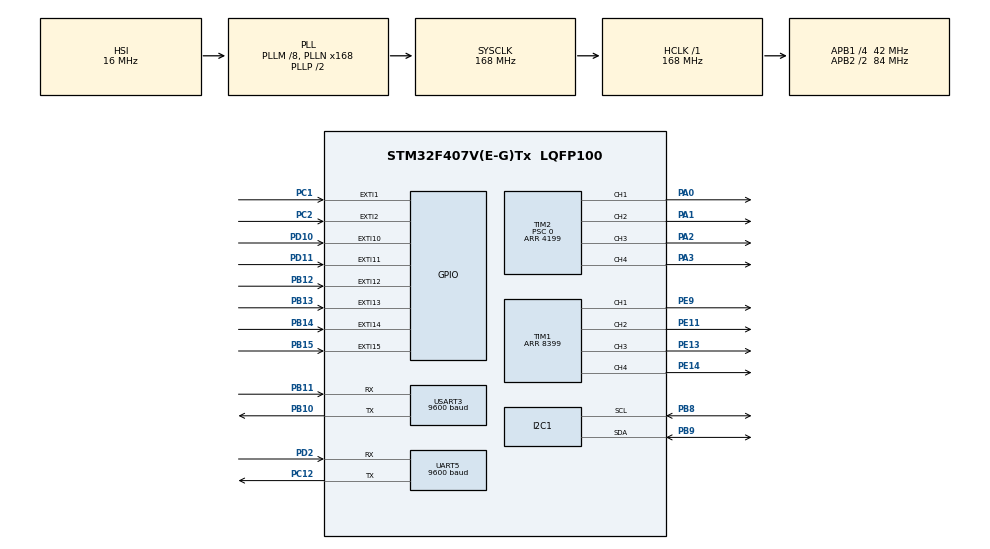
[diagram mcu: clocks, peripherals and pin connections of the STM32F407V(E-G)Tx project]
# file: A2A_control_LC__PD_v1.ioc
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Mcu.Family=STM32F4
Mcu.Name=STM32F407V(E-G)Tx
Mcu.Package=LQFP100
NVIC.EXTI15_10_IRQn=true\:0\:0\:false\:false\:true\:true\:true\:true
NVIC.EXTI1_IRQn=true\:0\:0\:false\:false\:true\:true\:true\:true
NVIC.EXTI2_IRQn=true\:0\:0\:false\:false\:true\:true\:true\:true
NVIC.PriorityGroup=NVIC_PRIORITYGROUP_4
NVIC.TIM3_IRQn=true\:0\:0\:false\:false\:true\:true\:true\:true
NVIC.UART5_IRQn=true\:0\:0\:false\:false\:true\:true\:true\:true
NVIC.USART3_IRQn=true\:0\:0\:false\:false\:true\:true\:true\:true
PA0-WKUP.Signal=S_TIM2_CH1_ETR
PA1.Signal=S_TIM2_CH2
PA2.Signal=S_TIM2_CH3
PA3.Signal=S_TIM2_CH4
PB10.Mode=Asynchronous
PB10.Signal=USART3_TX
PB11.Mode=Asynchronous
PB11.Signal=USART3_RX
PB12.Signal=GPXTI12
PB13.Signal=GPXTI13
PB14.Signal=GPXTI14
PB15.Signal=GPXTI15
PB8.Mode=I2C
PB8.Signal=I2C1_SCL
PB9.Mode=I2C
PB9.Signal=I2C1_SDA
PC1.Signal=GPXTI1
PC12.Mode=Asynchronous
PC12.Signal=UART5_TX
PC2.Signal=GPXTI2
PD10.Signal=GPXTI10
PD11.Signal=GPXTI11
PD2.Mode=Asynchronous
PD2.Signal=UART5_RX
PE11.Signal=S_TIM1_CH2
PE13.Signal=S_TIM1_CH3
PE14.Signal=S_TIM1_CH4
PE9.Signal=S_TIM1_CH1
ProjectManager.HeapSize=0x200
ProjectManager.StackSize=0x400
ProjectManager.TargetToolchain=STM32CubeIDE
RCC.48MHZClocksFreq_Value=84000000
RCC.AHBFreq_Value=168000000
RCC.APB1CLKDivider=RCC_HCLK_DIV4
RCC.APB1Freq_Value=42000000
RCC.APB1TimFreq_Value=84000000
RCC.APB2CLKDivider=RCC_HCLK_DIV2
RCC.APB2Freq_Value=84000000
RCC.APB2TimFreq_Value=168000000
RCC.CortexFreq_Value=168000000
RCC.HCLKFreq_Value=168000000
RCC.HSE_VALUE=25000000
RCC.HSI_VALUE=16000000
RCC.LSE_VALUE=32768
RCC.PLLM=8
RCC.PLLN=168
RCC.SYSCLKFreq_VALUE=168000000
RCC.SYSCLKSource=RCC_SYSCLKSOURCE_PLLCLK
RCC.VCOOutputFreq_Value=336000000
SH.S_TIM1_CH1.0=TIM1_CH1,PWM Generation1 CH1
SH.S_TIM1_CH2.0=TIM1_CH2,PWM Generation2 CH2
SH.S_TIM1_CH3.0=TIM1_CH3,PWM Generation3 CH3
SH.S_TIM1_CH4.0=TIM1_CH4,PWM Generation4 CH4
SH.S_TIM2_CH1_ETR.0=TIM2_CH1,PWM Generation1 CH1
SH.S_TIM2_CH2.0=TIM2_CH2,PWM Generation2 CH2
SH.S_TIM2_CH3.0=TIM2_CH3,PWM Generation3 CH3
SH.S_TIM2_CH4.0=TIM2_CH4,PWM Generation4 CH4
TIM1.AutoReloadPreload=TIM_AUTORELOAD_PRELOAD_ENABLE
TIM1.Channel-PWM\ Generation1\ CH1=TIM_CHANNEL_1
TIM1.Channel-PWM\ Generation2\ CH2=TIM_CHANNEL_2
TIM1.Channel-PWM\ Generation3\ CH3=TIM_CHANNEL_3
TIM1.Channel-PWM\ Generation4\ CH4=TIM_CHANNEL_4
TIM1.Period=8399
TIM2.AutoReloadPreload=TIM_AUTORELOAD_PRELOAD_ENABLE
TIM2.Channel-PWM\ Generation1\ CH1=TIM_CHANNEL_1
TIM2.Channel-PWM\ Generation2\ CH2=TIM_CHANNEL_2
TIM2.Channel-PWM\ Generation3\ CH3=TIM_CHANNEL_3
TIM2.Channel-PWM\ Generation4\ CH4=TIM_CHANNEL_4
TIM2.Period=4199
TIM2.Prescaler=0
TIM3.Period=999
TIM3.Prescaler=839
UART5.BaudRate=9600
UART5.VirtualMode=Asynchronous
USART3.BaudRate=9600
USART3.VirtualMode=VM_ASYNC
VP_TIM1_VS_ClockSourceINT.Mode=Internal
VP_TIM2_VS_ClockSourceINT.Mode=Internal
VP_TIM3_VS_ClockSourceINT.Mode=Internal
board=custom

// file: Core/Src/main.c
/* USER CODE BEGIN Header */
/**
  ******************************************************************************
  * @file           : main.c
  * @brief          : Main program body
  ******************************************************************************
  * @attention
  *
  * Copyright (c) 2025 STMicroelectronics.
  * All rights reserved.
  *
  * This software is licensed under terms that can be found in the LICENSE file
  * in the root directory of this software component.
  * If no LICENSE file comes with this software, it is provided AS-IS.
  *
  ******************************************************************************
  */
/* USER CODE END Header */
#include "main.h"

/* USER CODE BEGIN Includes */
#include <stdio.h>
#include <string.h>

// Variables globales para cada motor
typedef struct {
    float kp;        // Ganancia proporcional
    float kd;        // Ganancia derivativa
    float prev_error; // Error anterior (para la derivada)
} PDcontroller;

void controlarMotor(TIM_HandleTypeDef *htim, uint32_t ch1, uint32_t ch2,
                    PDcontroller *pd, float setpoint_rpm, float feedback_rpm,
                    int direccion);

void movimiento(char str,
                float sp1, float sp2, float sp3, float sp4,
                float fb1, float fb2, float fb3, float fb4);
// ===== Límite de seguridad y helpers PWM =====
#define MAX_DUTY_PCT  100.0f   // tope de PWM en %, ajusta a tu gusto

static inline uint32_t pwm_get_arr(TIM_HandleTypeDef *htim) {
    return __HAL_TIM_GET_AUTORELOAD(htim);  // = Period (ARR) del timer
}

static inline uint32_t pwm_pct_to_ccr(TIM_HandleTypeDef *htim, float pct) {
    if (pct < 0.0f)   pct = 0.0f;
    if (pct > 100.0f) pct = 100.0f;
    float arr = (float)pwm_get_arr(htim);
    return (uint32_t)((pct * arr) / 100.0f + 0.5f);
}

/* USER CODE END Includes */

I2C_HandleTypeDef hi2c1;

TIM_HandleTypeDef htim1;
TIM_HandleTypeDef htim2;
TIM_HandleTypeDef htim3;

UART_HandleTypeDef huart5;
UART_HandleTypeDef huart3;

void SystemClock_Config(void);
static void MX_GPIO_Init(void);
static void MX_TIM1_Init(void);
static void MX_TIM2_Init(void);
static void MX_UART5_Init(void);
static void MX_USART3_UART_Init(void);
static void MX_I2C1_Init(void);
static void MX_TIM3_Init(void);

/* USER CODE BEGIN 0 */
// === ADDED ===
volatile char g_cmd = 'e';          // comando actual (empieza en STOP)
volatile uint8_t control_tick = 0;  // flag para ejecutar control cada 10 ms
uint8_t rx3, rx5;                   // buffers de RX por IT para USART3 y UART5

#define ENCODER_PPR 2000 // Pulsos por revolución del encoder
#define TIMER_INTERVAL 10 // Intervalo del cálculo de velocidad (ms)
/* Variables globales para los encoders */
char rxData='b';
char datico='b';
int *velocidad_mostrar;

volatile int32_t encoder_count_m1 = 0, encoder_count_m2 = 0, encoder_count_m3 = 0, encoder_count_m4 = 0;
volatile int8_t motor_direction_m1 = 0, motor_direction_m2 = 0, motor_direction_m3 = 0, motor_direction_m4 = 0;
volatile int32_t pulses_in_interval_m1 = 0, pulses_in_interval_m2 = 0, pulses_in_interval_m3 = 0, pulses_in_interval_m4 = 0;
volatile int32_t motor_speed_rpm_m1 = 0, motor_speed_rpm_m2 = 0, motor_speed_rpm_m3 = 0, motor_speed_rpm_m4 = 0;

float a_m1 = 22.697, a_m2 = 23.993, a_m3 = 22.697, a_m4 = 23.119;
float b_m1 = 1200.62, b_m2 = 1200.31, b_m3 = 927.31, b_m4 = 874;

float calcularPD(PDcontroller *pd, float setpoint_rpm, float feedback_rpm)
{
    const float Ts = 0.01f;   // 10 ms (TIM3)
    float error = setpoint_rpm - feedback_rpm;

    // Derivada discreta del error
    float derivative = (error - pd->prev_error) / Ts;

    // Ley PD
    float u_pct = pd->kp * error + pd->kd * derivative;

    // Guardar error
    pd->prev_error = error;

    // Límite 0–100%
    if (u_pct < 0) u_pct = 0;
    if (u_pct > 100) u_pct = 100;

    return u_pct;
}

PDcontroller controladorM1 = { .kp = 2.687837780257748f, .kd = 0.001f, .prev_error = 0 };
PDcontroller controladorM2 = { .kp = 2.687837780257748f, .kd = 0.001f, .prev_error = 0 };
PDcontroller controladorM3 = { .kp = 2.687837780257748f, .kd = 0.001f, .prev_error = 0 };
PDcontroller controladorM4 = { .kp = 2.687837780257748f, .kd = 0.001f, .prev_error = 0 };

float feedbackM1, feedbackM2, feedbackM3, feedbackM4 = 0;  // Declare the feedback variables

/* ISR para las señales del encoder */
void HAL_GPIO_EXTI_Callback(uint16_t GPIO_Pin) {
    // Motor 1
    if (GPIO_Pin == GPIO_PIN_12 || GPIO_Pin == GPIO_PIN_13) {
        if (HAL_GPIO_ReadPin(GPIOB, GPIO_PIN_12) == HAL_GPIO_ReadPin(GPIOB, GPIO_PIN_13)) {
            encoder_count_m1++;
            pulses_in_interval_m1++;
            motor_direction_m1 = 1;
        } else {
            encoder_count_m1--;
            pulses_in_interval_m1++;
            motor_direction_m1 = -1;
        }
    }
    // Motor 2
    else if (GPIO_Pin == GPIO_PIN_14 || GPIO_Pin == GPIO_PIN_15) {
        if (HAL_GPIO_ReadPin(GPIOB, GPIO_PIN_14) == HAL_GPIO_ReadPin(GPIOB, GPIO_PIN_15)) {
            encoder_count_m2++;
            pulses_in_interval_m2++;
            motor_direction_m2 = 1;
        } else {
            encoder_count_m2--;
            pulses_in_interval_m2++;
            motor_direction_m2 = -1;
        }
    }
    // Motor 3
    else if (GPIO_Pin == GPIO_PIN_10 || GPIO_Pin == GPIO_PIN_11) {
        if (HAL_GPIO_ReadPin(GPIOD, GPIO_PIN_10) == HAL_GPIO_ReadPin(GPIOD, GPIO_PIN_11)) {
            encoder_count_m3++;
            pulses_in_interval_m3++;
            motor_direction_m3 = 1;
        } else {
            encoder_count_m3--;
            pulses_in_interval_m3++;
            motor_direction_m3 = -1;
        }
    }
    // Motor 4
    else if (GPIO_Pin == GPIO_PIN_2 || GPIO_Pin == GPIO_PIN_1) {
        if (HAL_GPIO_ReadPin(GPIOC, GPIO_PIN_1) == HAL_GPIO_ReadPin(GPIOC, GPIO_PIN_2)) {
            encoder_count_m4++;
            pulses_in_interval_m4++;
            motor_direction_m4 = 1;
        } else {
            encoder_count_m4--;
            pulses_in_interval_m4++;
            motor_direction_m4 = -1;
        }
    }
}
void HAL_UART_RxCpltCallback(UART_HandleTypeDef *huart) {
    char c;
    if (huart->Instance == USART3) {
        c = (char)rx3;
        HAL_UART_Receive_IT(&huart3, &rx3, 1); // rearmar
    } else if (huart->Instance == UART5) {
        c = (char)rx5;
        HAL_UART_Receive_IT(&huart5, &rx5, 1); // rearmar
    } else {
        return;
    }

    // Si es un comando válido, actualizar g_cmd y resetear integrales (anti-windup)
    if (c=='a'||c=='b'||c=='c'||c=='d'||c=='e'||c=='f'||c=='g'||c=='h'||c=='i'||c=='j'||c=='k') {
        g_cmd = c;

        // (Opcional) eco por consola:
        // HAL_UART_Transmit(&huart3, (uint8_t*)&g_cmd, 1, 50);
    }
}

/* Temporizador para calcular velocidad */
void HAL_TIM_PeriodElapsedCallback(TIM_HandleTypeDef *htim) {
    if (htim->Instance == TIM3) {
    	static float f1=0, f2=0, f3=0, f4=0;

    	float rpm1 = (pulses_in_interval_m1 * 60 * 1000) / (ENCODER_PPR * TIMER_INTERVAL);
    	float rpm2 = (pulses_in_interval_m2 * 60 * 1000) / (ENCODER_PPR * TIMER_INTERVAL);
    	float rpm3 = (pulses_in_interval_m3 * 60 * 1000) / (ENCODER_PPR * TIMER_INTERVAL);
    	float rpm4 = (pulses_in_interval_m4 * 60 * 1000) / (ENCODER_PPR * TIMER_INTERVAL);

    	// filtro exponencial: 70% pasado – 30% nuevo
    	f1 = 0.7f * f1 + 0.3f * rpm1;
    	f2 = 0.7f * f2 + 0.3f * rpm2;
    	f3 = 0.7f * f3 + 0.3f * rpm3;
    	f4 = 0.7f * f4 + 0.3f * rpm4;

    	motor_speed_rpm_m1 = f1;
    	motor_speed_rpm_m2 = f2;
    	motor_speed_rpm_m3 = f3;
    	motor_speed_rpm_m4 = f4;

        if (pulses_in_interval_m1 == 0) motor_speed_rpm_m1 = 0, motor_direction_m1 = 0;
        if (pulses_in_interval_m2 == 0) motor_speed_rpm_m2 = 0, motor_direction_m2 = 0;
        if (pulses_in_interval_m3 == 0) motor_speed_rpm_m3 = 0, motor_direction_m3 = 0;
        if (pulses_in_interval_m4 == 0) motor_speed_rpm_m4 = 0, motor_direction_m4 = 0;

        pulses_in_interval_m1 = pulses_in_interval_m2 = pulses_in_interval_m3 = pulses_in_interval_m4 = 0;
        control_tick = 1;
    }
}
/* USER CODE END 0 */

int main(void)
{

  /* MCU Configuration--------------------------------------------------------*/

  /* Reset of all peripherals, Initializes the Flash interface and the Systick. */
  HAL_Init();

  /* Configure the system clock */
  SystemClock_Config();

  /* Initialize all configured peripherals */
  MX_GPIO_Init();
  MX_TIM1_Init();
  MX_TIM2_Init();
  MX_UART5_Init();
  MX_USART3_UART_Init();
  MX_I2C1_Init();
  MX_TIM3_Init();
  /* USER CODE BEGIN 2 */
  // Arranca RX por interrupción en ambos UARTs
  HAL_UART_Receive_IT(&huart3, &rx3, 1);
  HAL_UART_Receive_IT(&huart5, &rx5, 1);

  // Timer de 10 ms para velocidades y tick de control
  HAL_TIM_Base_Start_IT(&htim3);

  // PWM: usar HAL_TIM_PWM_Start (no *_Start_IT)
  HAL_TIM_PWM_Start(&htim1, TIM_CHANNEL_1);
  HAL_TIM_PWM_Start(&htim1, TIM_CHANNEL_2);
  HAL_TIM_PWM_Start(&htim1, TIM_CHANNEL_3);
  HAL_TIM_PWM_Start(&htim1, TIM_CHANNEL_4);

  HAL_TIM_PWM_Start(&htim2, TIM_CHANNEL_1);
  HAL_TIM_PWM_Start(&htim2, TIM_CHANNEL_2);
  HAL_TIM_PWM_Start(&htim2, TIM_CHANNEL_3);
  HAL_TIM_PWM_Start(&htim2, TIM_CHANNEL_4);

  // Inicializa duty en 0
  __HAL_TIM_SetCompare(&htim1, TIM_CHANNEL_1, 0);
  __HAL_TIM_SetCompare(&htim1, TIM_CHANNEL_2, 0);
  __HAL_TIM_SetCompare(&htim1, TIM_CHANNEL_3, 0);
  __HAL_TIM_SetCompare(&htim1, TIM_CHANNEL_4, 0);
  __HAL_TIM_SetCompare(&htim2, TIM_CHANNEL_1, 0);
  __HAL_TIM_SetCompare(&htim2, TIM_CHANNEL_2, 0);
  __HAL_TIM_SetCompare(&htim2, TIM_CHANNEL_3, 0);
  __HAL_TIM_SetCompare(&htim2, TIM_CHANNEL_4, 0);
  /* USER CODE END 2 */

  /* Infinite loop */
  /* USER CODE BEGIN WHILE */
  while (1)
  {
	    if (control_tick) {
	        control_tick = 0;

	        float sp_rpm = 30.0f;
	        movimiento(g_cmd,
	                   sp_rpm, sp_rpm, sp_rpm, sp_rpm,
	                   motor_speed_rpm_m1, motor_speed_rpm_m2,
	                   motor_speed_rpm_m3, motor_speed_rpm_m4);

	    }
    /* USER CODE END WHILE */

  }
}

void SystemClock_Config(void)
{
  RCC_OscInitTypeDef RCC_OscInitStruct = {0};
  RCC_ClkInitTypeDef RCC_ClkInitStruct = {0};

  /** Configure the main internal regulator output voltage
  */
  __HAL_RCC_PWR_CLK_ENABLE();
  __HAL_PWR_VOLTAGESCALING_CONFIG(PWR_REGULATOR_VOLTAGE_SCALE1);

  /** Initializes the RCC Oscillators according to the specified parameters
  * in the RCC_OscInitTypeDef structure.
  */
  RCC_OscInitStruct.OscillatorType = RCC_OSCILLATORTYPE_HSI;
  RCC_OscInitStruct.HSIState = RCC_HSI_ON;
  RCC_OscInitStruct.HSICalibrationValue = RCC_HSICALIBRATION_DEFAULT;
  RCC_OscInitStruct.PLL.PLLState = RCC_PLL_ON;
  RCC_OscInitStruct.PLL.PLLSource = RCC_PLLSOURCE_HSI;
  RCC_OscInitStruct.PLL.PLLM = 8;
  RCC_OscInitStruct.PLL.PLLN = 168;
  RCC_OscInitStruct.PLL.PLLP = RCC_PLLP_DIV2;
  RCC_OscInitStruct.PLL.PLLQ = 4;
  if (HAL_RCC_OscConfig(&RCC_OscInitStruct) != HAL_OK)
  {
    Error_Handler();
  }

  /** Initializes the CPU, AHB and APB buses clocks
  */
  RCC_ClkInitStruct.ClockType = RCC_CLOCKTYPE_HCLK|RCC_CLOCKTYPE_SYSCLK
                              |RCC_CLOCKTYPE_PCLK1|RCC_CLOCKTYPE_PCLK2;
  RCC_ClkInitStruct.SYSCLKSource = RCC_SYSCLKSOURCE_PLLCLK;
  RCC_ClkInitStruct.AHBCLKDivider = RCC_SYSCLK_DIV1;
  RCC_ClkInitStruct.APB1CLKDivider = RCC_HCLK_DIV4;
  RCC_ClkInitStruct.APB2CLKDivider = RCC_HCLK_DIV2;

  if (HAL_RCC_ClockConfig(&RCC_ClkInitStruct, FLASH_LATENCY_5) != HAL_OK)
  {
    Error_Handler();
  }
}

static void MX_I2C1_Init(void)
{

  hi2c1.Instance = I2C1;
  hi2c1.Init.ClockSpeed = 100000;
  hi2c1.Init.DutyCycle = I2C_DUTYCYCLE_2;
  hi2c1.Init.OwnAddress1 = 0;
  hi2c1.Init.AddressingMode = I2C_ADDRESSINGMODE_7BIT;
  hi2c1.Init.DualAddressMode = I2C_DUALADDRESS_DISABLE;
  hi2c1.Init.OwnAddress2 = 0;
  hi2c1.Init.GeneralCallMode = I2C_GENERALCALL_DISABLE;
  hi2c1.Init.NoStretchMode = I2C_NOSTRETCH_DISABLE;
  if (HAL_I2C_Init(&hi2c1) != HAL_OK)
  {
    Error_Handler();
  }

}

static void MX_TIM1_Init(void)
{

  TIM_ClockConfigTypeDef sClockSourceConfig = {0};
  TIM_MasterConfigTypeDef sMasterConfig = {0};
  TIM_OC_InitTypeDef sConfigOC = {0};
  TIM_BreakDeadTimeConfigTypeDef sBreakDeadTimeConfig = {0};

  htim1.Instance = TIM1;
  htim1.Init.Prescaler = 0;
  htim1.Init.CounterMode = TIM_COUNTERMODE_UP;
  htim1.Init.Period = 8399;
  htim1.Init.ClockDivision = TIM_CLOCKDIVISION_DIV1;
  htim1.Init.RepetitionCounter = 0;
  htim1.Init.AutoReloadPreload = TIM_AUTORELOAD_PRELOAD_ENABLE;
  if (HAL_TIM_Base_Init(&htim1) != HAL_OK)
  {
    Error_Handler();
  }
  sClockSourceConfig.ClockSource = TIM_CLOCKSOURCE_INTERNAL;
  if (HAL_TIM_ConfigClockSource(&htim1, &sClockSourceConfig) != HAL_OK)
  {
    Error_Handler();
  }
  if (HAL_TIM_PWM_Init(&htim1) != HAL_OK)
  {
    Error_Handler();
  }
  sMasterConfig.MasterOutputTrigger = TIM_TRGO_RESET;
  sMasterConfig.MasterSlaveMode = TIM_MASTERSLAVEMODE_DISABLE;
  if (HAL_TIMEx_MasterConfigSynchronization(&htim1, &sMasterConfig) != HAL_OK)
  {
    Error_Handler();
  }
  sConfigOC.OCMode = TIM_OCMODE_PWM1;
  sConfigOC.Pulse = 0;
  sConfigOC.OCPolarity = TIM_OCPOLARITY_HIGH;
  sConfigOC.OCNPolarity = TIM_OCNPOLARITY_HIGH;
  sConfigOC.OCFastMode = TIM_OCFAST_DISABLE;
  sConfigOC.OCIdleState = TIM_OCIDLESTATE_RESET;
  sConfigOC.OCNIdleState = TIM_OCNIDLESTATE_RESET;
  if (HAL_TIM_PWM_ConfigChannel(&htim1, &sConfigOC, TIM_CHANNEL_1) != HAL_OK)
  {
    Error_Handler();
  }
  if (HAL_TIM_PWM_ConfigChannel(&htim1, &sConfigOC, TIM_CHANNEL_2) != HAL_OK)
  {
    Error_Handler();
  }
  if (HAL_TIM_PWM_ConfigChannel(&htim1, &sConfigOC, TIM_CHANNEL_3) != HAL_OK)
  {
    Error_Handler();
  }
  if (HAL_TIM_PWM_ConfigChannel(&htim1, &sConfigOC, TIM_CHANNEL_4) != HAL_OK)
  {
    Error_Handler();
  }
  sBreakDeadTimeConfig.OffStateRunMode = TIM_OSSR_DISABLE;
  sBreakDeadTimeConfig.OffStateIDLEMode = TIM_OSSI_DISABLE;
  sBreakDeadTimeConfig.LockLevel = TIM_LOCKLEVEL_OFF;
  sBreakDeadTimeConfig.DeadTime = 0;
  sBreakDeadTimeConfig.BreakState = TIM_BREAK_DISABLE;
  sBreakDeadTimeConfig.BreakPolarity = TIM_BREAKPOLARITY_HIGH;
  sBreakDeadTimeConfig.AutomaticOutput = TIM_AUTOMATICOUTPUT_DISABLE;
  if (HAL_TIMEx_ConfigBreakDeadTime(&htim1, &sBreakDeadTimeConfig) != HAL_OK)
  {
    Error_Handler();
  }
  HAL_TIM_MspPostInit(&htim1);

}

static void MX_TIM2_Init(void)
{

  TIM_ClockConfigTypeDef sClockSourceConfig = {0};
  TIM_MasterConfigTypeDef sMasterConfig = {0};
  TIM_OC_InitTypeDef sConfigOC = {0};

  htim2.Instance = TIM2;
  htim2.Init.Prescaler = 0;
  htim2.Init.CounterMode = TIM_COUNTERMODE_UP;
  htim2.Init.Period = 4199;
  htim2.Init.ClockDivision = TIM_CLOCKDIVISION_DIV1;
  htim2.Init.AutoReloadPreload = TIM_AUTORELOAD_PRELOAD_ENABLE;
  if (HAL_TIM_Base_Init(&htim2) != HAL_OK)
  {
    Error_Handler();
  }
  sClockSourceConfig.ClockSource = TIM_CLOCKSOURCE_INTERNAL;
  if (HAL_TIM_ConfigClockSource(&htim2, &sClockSourceConfig) != HAL_OK)
  {
    Error_Handler();
  }
  if (HAL_TIM_PWM_Init(&htim2) != HAL_OK)
  {
    Error_Handler();
  }
  sMasterConfig.MasterOutputTrigger = TIM_TRGO_RESET;
  sMasterConfig.MasterSlaveMode = TIM_MASTERSLAVEMODE_DISABLE;
  if (HAL_TIMEx_MasterConfigSynchronization(&htim2, &sMasterConfig) != HAL_OK)
  {
    Error_Handler();
  }
  sConfigOC.OCMode = TIM_OCMODE_PWM1;
  sConfigOC.Pulse = 0;
  sConfigOC.OCPolarity = TIM_OCPOLARITY_HIGH;
  sConfigOC.OCFastMode = TIM_OCFAST_DISABLE;
  if (HAL_TIM_PWM_ConfigChannel(&htim2, &sConfigOC, TIM_CHANNEL_1) != HAL_OK)
  {
    Error_Handler();
  }
  if (HAL_TIM_PWM_ConfigChannel(&htim2, &sConfigOC, TIM_CHANNEL_2) != HAL_OK)
  {
    Error_Handler();
  }
  if (HAL_TIM_PWM_ConfigChannel(&htim2, &sConfigOC, TIM_CHANNEL_3) != HAL_OK)
  {
    Error_Handler();
  }
  if (HAL_TIM_PWM_ConfigChannel(&htim2, &sConfigOC, TIM_CHANNEL_4) != HAL_OK)
  {
    Error_Handler();
  }
  HAL_TIM_MspPostInit(&htim2);

}

static void MX_TIM3_Init(void)
{

  TIM_ClockConfigTypeDef sClockSourceConfig = {0};
  TIM_MasterConfigTypeDef sMasterConfig = {0};

  htim3.Instance = TIM3;
  htim3.Init.Prescaler = 839;
  htim3.Init.CounterMode = TIM_COUNTERMODE_UP;
  htim3.Init.Period = 999;
  htim3.Init.ClockDivision = TIM_CLOCKDIVISION_DIV1;
  htim3.Init.AutoReloadPreload = TIM_AUTORELOAD_PRELOAD_DISABLE;
  if (HAL_TIM_Base_Init(&htim3) != HAL_OK)
  {
    Error_Handler();
  }
  sClockSourceConfig.ClockSource = TIM_CLOCKSOURCE_INTERNAL;
  if (HAL_TIM_ConfigClockSource(&htim3, &sClockSourceConfig) != HAL_OK)
  {
    Error_Handler();
  }
  sMasterConfig.MasterOutputTrigger = TIM_TRGO_RESET;
  sMasterConfig.MasterSlaveMode = TIM_MASTERSLAVEMODE_DISABLE;
  if (HAL_TIMEx_MasterConfigSynchronization(&htim3, &sMasterConfig) != HAL_OK)
  {
    Error_Handler();
  }

}

static void MX_UART5_Init(void)
{

  huart5.Instance = UART5;
  huart5.Init.BaudRate = 9600;
  huart5.Init.WordLength = UART_WORDLENGTH_8B;
  huart5.Init.StopBits = UART_STOPBITS_1;
  huart5.Init.Parity = UART_PARITY_NONE;
  huart5.Init.Mode = UART_MODE_TX_RX;
  huart5.Init.HwFlowCtl = UART_HWCONTROL_NONE;
  huart5.Init.OverSampling = UART_OVERSAMPLING_16;
  if (HAL_UART_Init(&huart5) != HAL_OK)
  {
    Error_Handler();
  }

}

static void MX_USART3_UART_Init(void)
{

  huart3.Instance = USART3;
  huart3.Init.BaudRate = 9600;
  huart3.Init.WordLength = UART_WORDLENGTH_8B;
  huart3.Init.StopBits = UART_STOPBITS_1;
  huart3.Init.Parity = UART_PARITY_NONE;
  huart3.Init.Mode = UART_MODE_TX_RX;
  huart3.Init.HwFlowCtl = UART_HWCONTROL_NONE;
  huart3.Init.OverSampling = UART_OVERSAMPLING_16;
  if (HAL_UART_Init(&huart3) != HAL_OK)
  {
    Error_Handler();
  }

}

static void MX_GPIO_Init(void)
{
  GPIO_InitTypeDef GPIO_InitStruct = {0};

  /* GPIO Ports Clock Enable */
  __HAL_RCC_GPIOC_CLK_ENABLE();
  __HAL_RCC_GPIOA_CLK_ENABLE();
  __HAL_RCC_GPIOE_CLK_ENABLE();
  __HAL_RCC_GPIOB_CLK_ENABLE();
  __HAL_RCC_GPIOD_CLK_ENABLE();

  /*Configure GPIO pins : PC1 PC2 */
  GPIO_InitStruct.Pin = GPIO_PIN_1|GPIO_PIN_2;
  GPIO_InitStruct.Mode = GPIO_MODE_IT_RISING;
  GPIO_InitStruct.Pull = GPIO_NOPULL;
  HAL_GPIO_Init(GPIOC, &GPIO_InitStruct);

  /*Configure GPIO pins : PB12 PB13 PB14 PB15 */
  GPIO_InitStruct.Pin = GPIO_PIN_12|GPIO_PIN_13|GPIO_PIN_14|GPIO_PIN_15;
  GPIO_InitStruct.Mode = GPIO_MODE_IT_RISING;
  GPIO_InitStruct.Pull = GPIO_NOPULL;
  HAL_GPIO_Init(GPIOB, &GPIO_InitStruct);

  /*Configure GPIO pins : PD10 PD11 */
  GPIO_InitStruct.Pin = GPIO_PIN_10|GPIO_PIN_11;
  GPIO_InitStruct.Mode = GPIO_MODE_IT_RISING;
  GPIO_InitStruct.Pull = GPIO_NOPULL;
  HAL_GPIO_Init(GPIOD, &GPIO_InitStruct);

  /* EXTI interrupt init*/
  HAL_NVIC_SetPriority(EXTI1_IRQn, 0, 0);
  HAL_NVIC_EnableIRQ(EXTI1_IRQn);

  HAL_NVIC_SetPriority(EXTI2_IRQn, 0, 0);
  HAL_NVIC_EnableIRQ(EXTI2_IRQn);

  HAL_NVIC_SetPriority(EXTI15_10_IRQn, 0, 0);
  HAL_NVIC_EnableIRQ(EXTI15_10_IRQn);

}

/* USER CODE BEGIN 4 */
void controlarMotor(TIM_HandleTypeDef *htim, uint32_t ch1, uint32_t ch2,
                    PDcontroller *pd, float setpoint_rpm, float feedback_rpm,
                    int direccion)
{
    // 1) Control PD
    float u_pct = calcularPD(pd, setpoint_rpm, feedback_rpm);

    // 2) Limitar a tu máximo de seguridad
    if (u_pct > MAX_DUTY_PCT) u_pct = MAX_DUTY_PCT;

    // 3) Convertir a CCR
    uint32_t ccr = pwm_pct_to_ccr(htim, u_pct);

    // 4) Aplicar dirección
    if (direccion == 1) {          // Adelante
        __HAL_TIM_SetCompare(htim, ch1, ccr);
        __HAL_TIM_SetCompare(htim, ch2, 0);
    } else if (direccion == -1) {  // Reversa
        __HAL_TIM_SetCompare(htim, ch1, 0);
        __HAL_TIM_SetCompare(htim, ch2, ccr);
    } else {                       // Stop
        __HAL_TIM_SetCompare(htim, ch1, 0);
        __HAL_TIM_SetCompare(htim, ch2, 0);
    }
}

void movimiento(char str,
                float sp1, float sp2, float sp3, float sp4,
                float fb1, float fb2, float fb3, float fb4)
{
    int dir1 = 0, dir2 = 0, dir3 = 0, dir4 = 0;

    switch (str) {
        case 'b': dir1=dir3=1; dir2=dir4=-1; break;   // Adelante
        case 'h': dir1=dir3=-1; dir2=dir4=1; break;   // Atrás
        case 'j': dir1=dir2=dir3=dir4=1; break;       // Giro horario
        case 'k': dir1=dir2=dir3=dir4=-1; break;      // Giro antihorario
        case 'c': dir1=1; dir4=-1; break;             // 45° adelante derecha
        case 'a': dir2=-1; dir3=1; break;             // 45° adelante izquierda
        case 'g': dir1=-1; dir4=1; break;
        case 'i': dir2=1; dir3=-1; break;
        case 'f': dir1=dir2=1; dir3=dir4=-1; break;   // Lateral derecha
        case 'd': dir1=dir2=-1; dir3=dir4=1; break;   // Lateral izquierda
        case 'e':
        default: dir1=dir2=dir3=dir4 = 0; break;      // Stop
    }

    controlarMotor(&htim1, TIM_CHANNEL_1, TIM_CHANNEL_2,
                   &controladorM1, sp1, fb1, dir1);

    controlarMotor(&htim1, TIM_CHANNEL_3, TIM_CHANNEL_4,
                   &controladorM2, sp2, fb2, dir2);

    controlarMotor(&htim2, TIM_CHANNEL_1, TIM_CHANNEL_2,
                   &controladorM3, sp3, fb3, dir3);

    controlarMotor(&htim2, TIM_CHANNEL_3, TIM_CHANNEL_4,
                   &controladorM4, sp4, fb4, dir4);
}

/* USER CODE END 4 */

void Error_Handler(void)
{
  __disable_irq();
  while (1)
  {
  }
}
